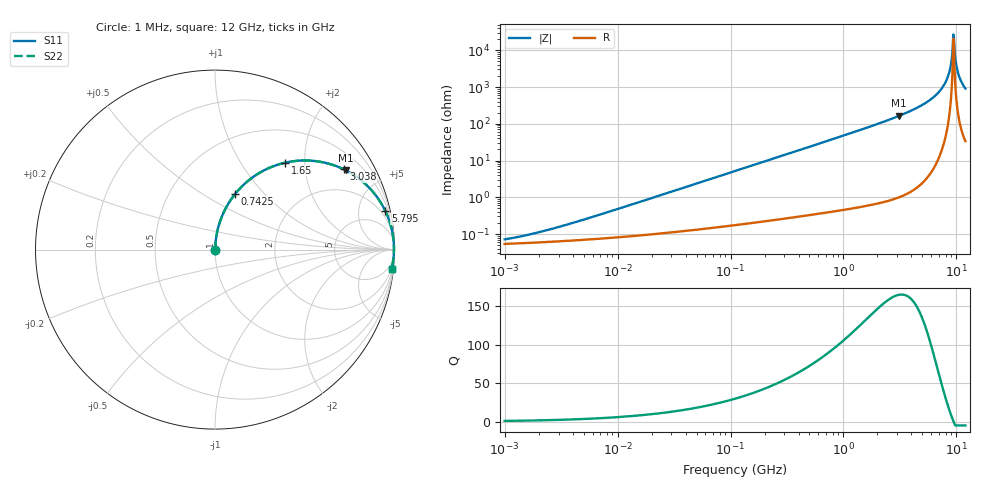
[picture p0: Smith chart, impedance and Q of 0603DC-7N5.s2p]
# MHz  S  MA  R  50
!Freq  MagS11  AngS11  MagS21  AngS21  MagS12  AngS12  MagS22  AngS22
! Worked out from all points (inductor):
!   801 points, 1 MHz to 12 GHz, reference 50 ohm
!   read as one part in series: L = 7.5 nH near 4.288 MHz
!   highest Q = 165 at 3.11 GHz (marker M1), where L = 8.42 nH
!   self-resonance near 9.378 GHz
!   S11 on the Smith chart (normalised r, x): 1 MHz: 1.00, +0.00; 742.5 MHz: 1.01, +0.70; 1.65 GHz: 1.01, +1.60; 3.038 GHz: 1.02, +3.20; 5.795 GHz: 1.08, +8.78; 12 GHz: 2, -18
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1  0.0007141 41.2  0.9995 -0.0  0.9995 -0.0  0.0007141 41.2
4.822396  0.002373 73.0  0.9993 -0.1  0.9993 -0.1  0.002373 73.0
22.98406  0.01087 84.0  0.9989 -0.6  0.9989 -0.6  0.01087 84.0
110.8382  0.05211 85.1  0.9969 -3.0  0.9969 -3.0  0.05211 85.1
528.267  0.2415 75.3  0.9672 -14.0  0.9672 -14.0  0.2415 75.3
742.5468  0.331 70.0  0.94 -19.3  0.94 -19.3  0.331 70.0
1649.887  0.6234 51.0  0.7773 -38.6  0.7773 -38.6  0.6234 51.0
2517.778  0.7851 37.9  0.6145 -51.7  0.6145 -51.7  0.7851 37.9
3038.092  0.8453 31.9  0.5291 -57.7  0.5291 -57.7  0.8453 31.9
3110.276  0.8522 31.2  0.5181 -58.4  0.5181 -58.4  0.8522 31.2
5794.883  0.973 12.8  0.2217 -76.6  0.2217 -76.6  0.973 12.8
6992.433  0.9887 7.8  0.135 -81.3  0.135 -81.3  0.9887 7.8
7956.408  0.9947 4.4  0.07638 -83.8  0.07638 -83.8  0.9947 4.4
8537.111  0.9965 2.6  0.04466 -84.2  0.04466 -84.2  0.9965 2.6
8843.168  0.9969 1.6  0.02888 -83.1  0.02888 -83.1  0.9969 1.6
9053.277  0.9971 1.0  0.01841 -80.5  0.01841 -80.5  0.9971 1.0
9377.838  0.9972 0.1  0.003704 -40.1  0.003704 -40.1  0.9972 0.1
9714.035  0.997 -0.8  0.01374 76.8  0.01374 76.8  0.997 -0.8
10181.12  0.9963 -2.0  0.03464 82.8  0.03464 82.8  0.9963 -2.0
10546.12  0.9954 -2.9  0.05043 83.4  0.05043 83.4  0.9954 -2.9
11315.83  0.993 -4.7  0.08211 82.7  0.08211 82.7  0.993 -4.7
12000  0.9901 -6.2  0.1086 81.7  0.1086 81.7  0.9901 -6.2
